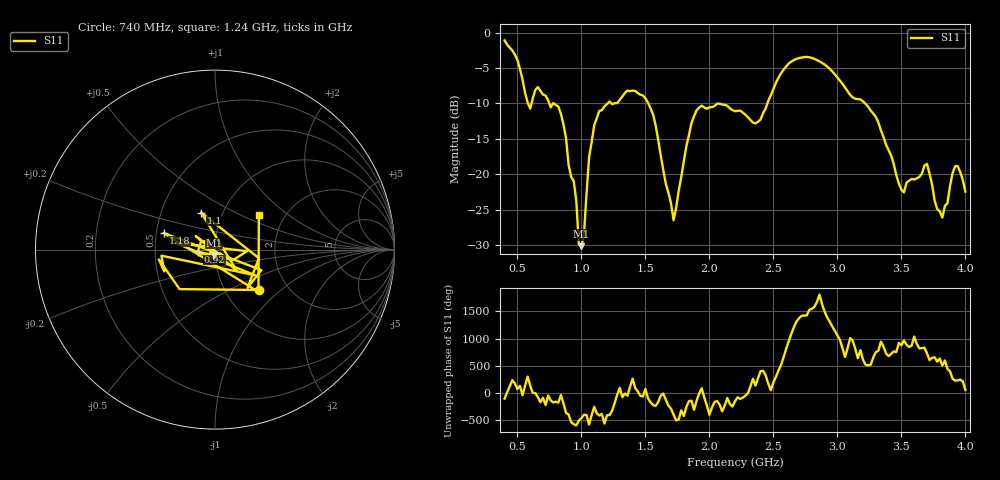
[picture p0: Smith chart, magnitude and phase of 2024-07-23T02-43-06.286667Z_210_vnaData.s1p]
!Created with skrf (http://scikit-rf.org).
# Hz S RI R 50.0
!freq ReS11 ImS11
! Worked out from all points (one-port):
!   181 points, 400 MHz to 4 GHz, reference 50 ohm
!   lowest |S11| = -30.2 dB at 1 GHz (marker M1), VSWR 1.06, Z = 49.4 - j3.03 ohm
!   |S11| at or under -10 dB: 782.8 MHz to 1.206 GHz (422.9 MHz wide, 42.5 % of centre); 1.523 GHz to 2.454 GHz (931 MHz wide, 46.8 % of centre); 3.216 GHz to end of sweep (the widest 3 of 6)
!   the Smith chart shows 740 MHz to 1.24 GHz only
!   S11 on the Smith chart (normalised r, x): 740 MHz: 1.43, -0.73; 920 MHz: 0.83, -0.02; 1.1 GHz: 0.79, +0.34; 1.18 GHz: 0.55, +0.11; 1.24 GHz: 1.48, +0.64
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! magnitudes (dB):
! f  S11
! 400 MHz  -1.1
! 600 MHz  -10.7
! 660 MHz  -7.7
! 740 MHz  -9.5
! 860 MHz  -13.0
! 920 MHz  -20.4
! 1 GHz  -30.2
! 1.06 GHz  -17.6
! 1.1 GHz  -13.1
! 1.18 GHz  -10.4
! 1.24 GHz  -10.1
! 1.3 GHz  -9.5
! 1.5 GHz  -9.3
! 1.58 GHz  -13.1
! 1.72 GHz  -26.5
! 1.76 GHz  -22.4
! 1.9 GHz  -11.0
! 2.2 GHz  -11.1
! 2.38 GHz  -12.6
! 2.66 GHz  -3.9
! 3.1 GHz  -8.8
! 3.3 GHz  -11.9
! 3.5 GHz  -22.2
! 3.56 GHz  -20.9
! 3.7 GHz  -18.6
! 3.82 GHz  -26.1
! 3.92 GHz  -18.9
! 4 GHz  -22.5
